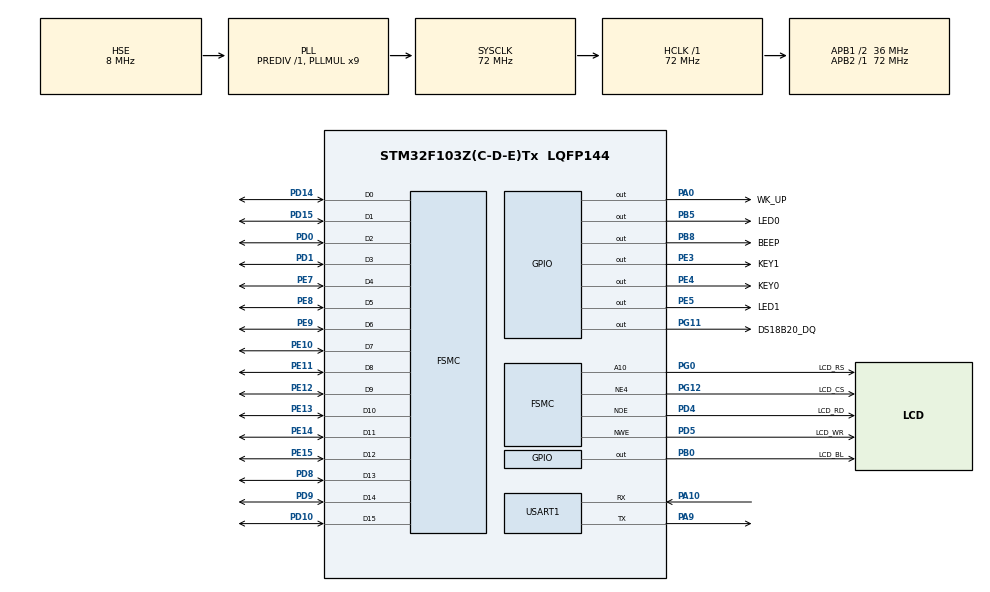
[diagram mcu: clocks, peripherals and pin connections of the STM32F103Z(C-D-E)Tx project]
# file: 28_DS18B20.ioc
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FSMC.AddressSetupTime1=0
FSMC.BusTurnAroundDuration1=15
FSMC.DataSetupTime1=15
FSMC.ExtendedAddressSetupTime1=0
FSMC.ExtendedDataSetupTime1=1
FSMC.ExtendedMode1=FSMC_EXTENDED_MODE_ENABLE
Mcu.Family=STM32F1
Mcu.Name=STM32F103Z(C-D-E)Tx
Mcu.Package=LQFP144
NVIC.PriorityGroup=NVIC_PRIORITYGROUP_2
NVIC.USART1_IRQn=true\:2\:2\:true\:false\:true\:true\:true\:true
OSC_IN.Mode=HSE-External-Oscillator
OSC_IN.Signal=RCC_OSC_IN
OSC_OUT.Mode=HSE-External-Oscillator
OSC_OUT.Signal=RCC_OSC_OUT
PA0-WKUP.GPIO_Label=WK_UP
PA0-WKUP.GPIO_PuPd=GPIO_PULLDOWN
PA0-WKUP.GPIO_Speed=GPIO_SPEED_FREQ_HIGH
PA0-WKUP.PinState=GPIO_PIN_RESET
PA0-WKUP.Signal=GPIO_Output
PA10.Mode=Asynchronous
PA10.Signal=USART1_RX
PA13.Mode=Serial_Wire
PA13.Signal=SYS_JTMS-SWDIO
PA14.Mode=Serial_Wire
PA14.Signal=SYS_JTCK-SWCLK
PA9.Mode=Asynchronous
PA9.Signal=USART1_TX
PB0.GPIO_Label=LCD_BL
PB0.GPIO_PuPd=GPIO_PULLUP
PB0.GPIO_Speed=GPIO_SPEED_FREQ_HIGH
PB0.PinState=GPIO_PIN_SET
PB0.Signal=GPIO_Output
PB5.GPIO_Label=LED0
PB5.GPIO_PuPd=GPIO_PULLUP
PB5.GPIO_Speed=GPIO_SPEED_FREQ_HIGH
PB5.PinState=GPIO_PIN_SET
PB5.Signal=GPIO_Output
PB8.GPIO_Label=BEEP
PB8.GPIO_ModeDefaultOutputPP=GPIO_MODE_OUTPUT_PP
PB8.GPIO_PuPd=GPIO_PULLDOWN
PB8.GPIO_Speed=GPIO_SPEED_FREQ_HIGH
PB8.PinState=GPIO_PIN_RESET
PB8.Signal=GPIO_Output
PC14-OSC32_IN.Mode=LSE-External-Oscillator
PC14-OSC32_IN.Signal=RCC_OSC32_IN
PC15-OSC32_OUT.Mode=LSE-External-Oscillator
PC15-OSC32_OUT.Signal=RCC_OSC32_OUT
PD0.Signal=FSMC_D2_DA2
PD1.Signal=FSMC_D3_DA3
PD10.Signal=FSMC_D15_DA15
PD14.Signal=FSMC_D0_DA0
PD15.Signal=FSMC_D1_DA1
PD4.GPIO_Label=LCD_RD
PD4.Signal=FSMC_NOE
PD5.GPIO_Label=LCD_WR
PD5.Signal=FSMC_NWE
PD8.Signal=FSMC_D13_DA13
PD9.Signal=FSMC_D14_DA14
PE10.Signal=FSMC_D7_DA7
PE11.Signal=FSMC_D8_DA8
PE12.Signal=FSMC_D9_DA9
PE13.Signal=FSMC_D10_DA10
PE14.Signal=FSMC_D11_DA11
PE15.Signal=FSMC_D12_DA12
PE3.GPIO_Label=KEY1
PE3.GPIO_PuPd=GPIO_PULLUP
PE3.GPIO_Speed=GPIO_SPEED_FREQ_HIGH
PE3.PinState=GPIO_PIN_SET
PE3.Signal=GPIO_Output
PE4.GPIO_Label=KEY0
PE4.GPIO_PuPd=GPIO_PULLUP
PE4.GPIO_Speed=GPIO_SPEED_FREQ_HIGH
PE4.PinState=GPIO_PIN_SET
PE4.Signal=GPIO_Output
PE5.GPIO_Label=LED1
PE5.GPIO_PuPd=GPIO_PULLUP
PE5.GPIO_Speed=GPIO_SPEED_FREQ_HIGH
PE5.PinState=GPIO_PIN_SET
PE5.Signal=GPIO_Output
PE7.Signal=FSMC_D4_DA4
PE8.Signal=FSMC_D5_DA5
PE9.Signal=FSMC_D6_DA6
PG0.GPIO_Label=LCD_RS
PG0.Signal=FSMC_A10
PG11.GPIO_Label=DS18B20_DQ
PG11.GPIO_ModeDefaultOutputPP=GPIO_MODE_OUTPUT_OD
PG11.GPIO_PuPd=GPIO_PULLUP
PG11.GPIO_Speed=GPIO_SPEED_FREQ_HIGH
PG11.PinState=GPIO_PIN_SET
PG11.Signal=GPIO_Output
PG12.GPIO_Label=LCD_CS
PG12.Mode=NorPsramChipSelect4_1
PG12.Signal=FSMC_NE4
ProjectManager.HeapSize=0x200
ProjectManager.StackSize=0x400
ProjectManager.TargetToolchain=STM32CubeIDE
RCC.AHBFreq_Value=72000000
RCC.APB1CLKDivider=RCC_HCLK_DIV2
RCC.APB1Freq_Value=36000000
RCC.APB1TimFreq_Value=72000000
RCC.APB2Freq_Value=72000000
RCC.APB2TimFreq_Value=72000000
RCC.HCLKFreq_Value=72000000
RCC.PLLMUL=RCC_PLL_MUL9
RCC.PLLSourceVirtual=RCC_PLLSOURCE_HSE
RCC.SYSCLKFreq_VALUE=72000000
RCC.SYSCLKSource=RCC_SYSCLKSOURCE_PLLCLK
RCC.USBFreq_Value=72000000
SH.FSMC_A10.0=FSMC_A10,A10_1
SH.FSMC_D0_DA0.0=FSMC_D0,16b-d1
SH.FSMC_D10_DA10.0=FSMC_D10,16b-d1
SH.FSMC_D11_DA11.0=FSMC_D11,16b-d1
SH.FSMC_D12_DA12.0=FSMC_D12,16b-d1
SH.FSMC_D13_DA13.0=FSMC_D13,16b-d1
SH.FSMC_D14_DA14.0=FSMC_D14,16b-d1
SH.FSMC_D15_DA15.0=FSMC_D15,16b-d1
SH.FSMC_D1_DA1.0=FSMC_D1,16b-d1
SH.FSMC_D2_DA2.0=FSMC_D2,16b-d1
SH.FSMC_D3_DA3.0=FSMC_D3,16b-d1
SH.FSMC_D4_DA4.0=FSMC_D4,16b-d1
SH.FSMC_D5_DA5.0=FSMC_D5,16b-d1
SH.FSMC_D6_DA6.0=FSMC_D6,16b-d1
SH.FSMC_D7_DA7.0=FSMC_D7,16b-d1
SH.FSMC_D8_DA8.0=FSMC_D8,16b-d1
SH.FSMC_D9_DA9.0=FSMC_D9,16b-d1
SH.FSMC_NOE.0=FSMC_NOE,Lcd1
SH.FSMC_NWE.0=FSMC_NWE,Lcd1
USART1.VirtualMode=VM_ASYNC
board=custom

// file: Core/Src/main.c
/* USER CODE BEGIN Header */

/* USER CODE END Header */
#include "main.h"
#include "usart.h"
#include "gpio.h"
#include "fsmc.h"

/* USER CODE BEGIN Includes */
#include "../../BSP/LED/led.h"
#include "../../BSP/KEY/key.h"
#include "../../BSP/LCD/lcd.h"
#include "../../BSP/DS18B20/ds18b20.h"
#include "../../SYSTEM/delay/delay.h"
/* USER CODE END Includes */

void SystemClock_Config(void);

int main(void)
{
  /* USER CODE BEGIN 1 */
    uint8_t t = 0;
    short temperature;
  /* USER CODE END 1 */

  /* MCU Configuration--------------------------------------------------------*/

  /* Reset of all peripherals, Initializes the Flash interface and the Systick. */
  HAL_Init();

  /* Configure the system clock */
  SystemClock_Config();

  /* USER CODE BEGIN SysInit */
  delay_init(72);						   /* 初始化延时函数 */
  /* USER CODE END SysInit */

  /* Initialize all configured peripherals */
  MX_GPIO_Init();
  MX_FSMC_Init();
  MX_USART1_UART_Init();
  /* USER CODE BEGIN 2 */
  lcd_init();                                         /* 初始化LCD */
  lcd_show_string(30, 50, 200, 16, 16, "STM32", RED);
  lcd_show_string(30, 70, 200, 16, 16, "DS18B20 TEST", RED);
  lcd_show_string(30, 90, 200, 16, 16, "ATOM@ALIENTEK", RED);

  while (ds18b20_init()) /* DS18B20初始化 */
  {
      lcd_show_string(30, 110, 200, 16, 16, "DS18B20 Error", RED);
      delay_ms(200);
      lcd_fill(30, 110, 239, 130 + 16, WHITE);
      delay_ms(200);
  }

  lcd_show_string(30, 110, 200, 16, 16, "DS18B20 OK", RED);
  lcd_show_string(30, 130, 200, 16, 16, "Temp:   . C", BLUE);
  /* USER CODE END 2 */

  /* Infinite loop */
  /* USER CODE BEGIN WHILE */
  while (1)
  {
	  if (t % 10 == 0) /* 每100ms读取一次 */
	  {
		  temperature = ds18b20_get_temperature();

		  if (temperature < 0)
		  {
			  lcd_show_char(30 + 40, 130, '-', 16, 0, BLUE); /* 显示负号 */
			  temperature = -temperature;                    /* 转为正数 */
		  }
		  else
		  {
			  lcd_show_char(30 + 40, 130, ' ', 16, 0, BLUE); /* 去掉负号 */
		  }

		  lcd_show_num(30 + 40 + 8, 130, temperature / 10, 2, 16, BLUE);  /* 显示正数部分 */
		  lcd_show_num(30 + 40 + 32, 130, temperature % 10, 1, 16, BLUE); /* 显示小数部分 */
	  }

	  delay_ms(10);
	  t++;

	  if (t == 20)
	  {
		  t = 0;
		  LED0_TOGGLE(); /* LED0闪烁 */
	  }
    /* USER CODE END WHILE */

  }
}

void SystemClock_Config(void)
{
  RCC_OscInitTypeDef RCC_OscInitStruct = {0};
  RCC_ClkInitTypeDef RCC_ClkInitStruct = {0};

  /** Initializes the RCC Oscillators according to the specified parameters
  * in the RCC_OscInitTypeDef structure.
  */
  RCC_OscInitStruct.OscillatorType = RCC_OSCILLATORTYPE_HSE;
  RCC_OscInitStruct.HSEState = RCC_HSE_ON;
  RCC_OscInitStruct.HSEPredivValue = RCC_HSE_PREDIV_DIV1;
  RCC_OscInitStruct.HSIState = RCC_HSI_ON;
  RCC_OscInitStruct.PLL.PLLState = RCC_PLL_ON;
  RCC_OscInitStruct.PLL.PLLSource = RCC_PLLSOURCE_HSE;
  RCC_OscInitStruct.PLL.PLLMUL = RCC_PLL_MUL9;
  if (HAL_RCC_OscConfig(&RCC_OscInitStruct) != HAL_OK)
  {
    Error_Handler();
  }

  /** Initializes the CPU, AHB and APB buses clocks
  */
  RCC_ClkInitStruct.ClockType = RCC_CLOCKTYPE_HCLK|RCC_CLOCKTYPE_SYSCLK
                              |RCC_CLOCKTYPE_PCLK1|RCC_CLOCKTYPE_PCLK2;
  RCC_ClkInitStruct.SYSCLKSource = RCC_SYSCLKSOURCE_PLLCLK;
  RCC_ClkInitStruct.AHBCLKDivider = RCC_SYSCLK_DIV1;
  RCC_ClkInitStruct.APB1CLKDivider = RCC_HCLK_DIV2;
  RCC_ClkInitStruct.APB2CLKDivider = RCC_HCLK_DIV1;

  if (HAL_RCC_ClockConfig(&RCC_ClkInitStruct, FLASH_LATENCY_2) != HAL_OK)
  {
    Error_Handler();
  }
}

void Error_Handler(void)
{
  __disable_irq();
  while (1)
  {
  }
}
